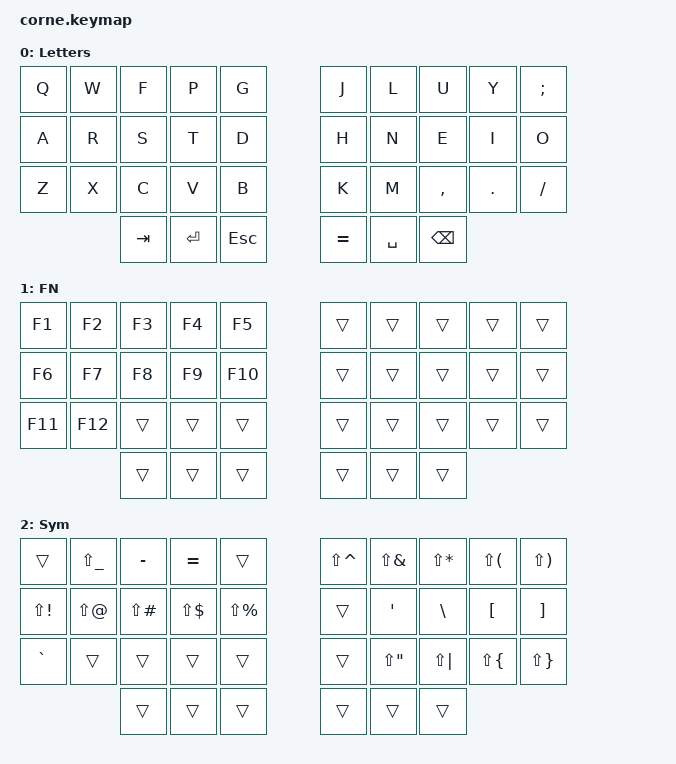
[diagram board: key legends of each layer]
#include <behaviors.dtsi>
##include <dt-bindings/zmk/bt.h>
#include <dt-bindings/zmk/keys.h>

/ {
    combos {
        compatible = "zmk,combos";

        WF {
            bindings = <&kp UNDERSCORE>;
            key-positions = <1 2>;
        };

        FP {
            bindings = <&kp KP_MINUS>;
            key-positions = <2 3>;
        };

        LU {
            bindings = <&kp APOSTROPHE>;
            key-positions = <6 7>;
        };

        UY {
            bindings = <&kp DOUBLE_QUOTES>;
            key-positions = <7 8>;
        };

        bt_clr {
            bindings = <&bt BT_CLR>;
            key-positions = <0 4>;
            layers = <2>;
        };
    };

    keymap {
        compatible = "zmk,keymap";

        Letters {
            bindings = <
  &kp Q  &kp W  &kp F    &kp P    &kp G      &kp J      &kp L      &kp U      &kp Y    &kp SEMI
  &kp A  &kp R  &kp S    &kp T    &kp D      &kp H      &kp N      &kp E      &kp I    &kp O
  &kp Z  &kp X  &kp C    &kp V    &kp B      &kp K      &kp M      &kp COMMA  &kp DOT  &kp FSLH
                &kp TAB  &kp RET  &kp ESC    &kp EQUAL  &kp SPACE  &kp BSPC
            >;
        };

        FN {
            bindings = <
  &kp F1   &kp F2   &kp F3  &kp F4  &kp F5     &trans  &trans  &trans  &trans  &trans
  &kp F6   &kp F7   &kp F8  &kp F9  &kp F10    &trans  &trans  &trans  &trans  &trans
  &kp F11  &kp F12  &trans  &trans  &trans     &trans  &trans  &trans  &trans  &trans
                    &trans  &trans  &trans     &trans  &trans  &trans
            >;
        };

        Sym {
            bindings = <
  &trans        &kp LS(UNDER)  &kp MINUS      &kp EQUAL     &trans           &kp LS(CARET)  &kp LS(AMPS)  &kp LS(STAR)  &kp LS(LPAR)  &kp LS(RPAR)
  &kp LS(EXCL)  &kp LS(AT)     &kp LS(POUND)  &kp LS(DLLR)  &kp LS(PRCNT)    &trans         &kp SQT       &kp BSLH      &kp LBKT      &kp RBKT
  &kp GRAVE     &trans         &trans         &trans        &trans           &trans         &kp LS(DQT)   &kp LS(PIPE)  &kp LS(LBRC)  &kp LS(RBRC)
                               &trans         &trans        &trans           &trans         &trans        &trans
            >;
        };
    };
};
